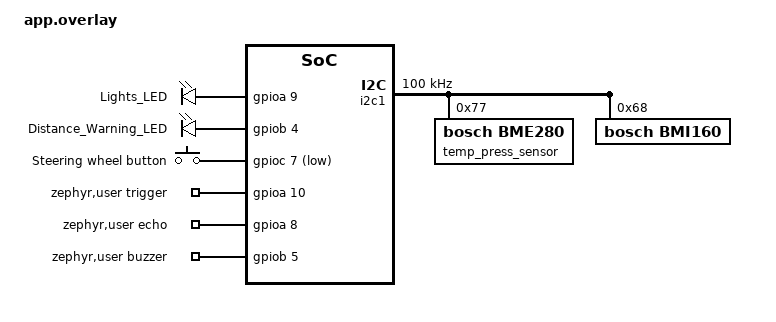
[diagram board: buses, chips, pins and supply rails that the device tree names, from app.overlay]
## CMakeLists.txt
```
cmake_minimum_required(VERSION 3.20.0)
find_package(Zephyr REQUIRED HINTS $ENV{ZEPHYR_BASE})
project(automotive_ecu)

target_sources(app PRIVATE src/main.c src/dashboard.c src/sensors.c src/imu.c)
```

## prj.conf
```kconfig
CONFIG_GPIO=y
CONFIG_LOG=y
CONFIG_I2C=y
CONFIG_SENSOR=y
CONFIG_BMI160=y
CONFIG_BMI160_TRIGGER_NONE=y
```

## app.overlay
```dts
#include <zephyr/dt-bindings/gpio/gpio.h>
#include <zephyr/dt-bindings/i2c/i2c.h>

/ {
    leds {
        compatible = "gpio-leds";
        
        lights_led: led_0 {
            gpios = <&gpioa 9 GPIO_ACTIVE_HIGH>;
            label = "Lights_LED";
        };

        warning_led: led_1 {
            gpios = <&gpiob 4 GPIO_ACTIVE_HIGH>;
            label = "Distance_Warning_LED";
        };
    };

    buttons {
        compatible = "gpio-keys";
        steering_button: button_0 {
            gpios = <&gpioc 7 (GPIO_PULL_UP | GPIO_ACTIVE_LOW)>;
            label = "Steering wheel button";
        };
    }; 

    zephyr,user {

        trigger-gpios = <&gpioa 10 GPIO_ACTIVE_HIGH>;
        echo-gpios = <&gpioa 8 GPIO_ACTIVE_HIGH>;

        buzzer-gpios = <&gpiob 5 GPIO_ACTIVE_HIGH>;
    };
}; 

&i2c1 {
    status = "okay";
    clock-frequency = <I2C_BITRATE_STANDARD>;


    temp_press_sensor: bmp280@77 {
        compatible = "bosch,bme280";
        reg  = <0x77>; 
    };

    bmi160: bmi160@68 {
        compatible = "bosch,bmi160";
        reg = <0x68>;
    };   
 };
```

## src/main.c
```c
#include <zephyr/kernel.h>
#include <zephyr/logging/log.h>
#include "dashboard.h"
#include "sensors.h"

LOG_MODULE_REGISTER(main, LOG_LEVEL_INF);

int main(void)
{
    dashboard_init();
    sensors_init();

    while(1)
    {
        heartbeat_toggle();

        bme280_read();
        hcsr04_read();
        
        int distance = hcsr04_get_distance();
        dashboard_check_alarms(distance);
        
        sensors_log();
        
        k_msleep(1000);
    }
}
   

    
```

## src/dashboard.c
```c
#include <zephyr/drivers/gpio.h>
#include <zephyr/logging/log.h>
#include <zephyr/kernel.h>
#include "dashboard.h"

#define LED0_NODE DT_ALIAS(led0)
#define ZEPHYR_USER_NODE DT_PATH(zephyr_user)

#define MAX_TIME_MS 500
#define MIN_TIME_MS 50
#define MAX_DISTANCE_CM 15
#define MIN_DISTANCE_CM 3

LOG_MODULE_REGISTER(dashboard, LOG_LEVEL_INF);

static const struct gpio_dt_spec led = GPIO_DT_SPEC_GET(DT_NODELABEL(lights_led), gpios);
static const struct gpio_dt_spec parking_led = GPIO_DT_SPEC_GET(DT_NODELABEL(warning_led), gpios);
static const struct gpio_dt_spec parking_buzzer = GPIO_DT_SPEC_GET(DT_PATH(zephyr_user), buzzer_gpios);
static const struct gpio_dt_spec button = GPIO_DT_SPEC_GET(DT_NODELABEL(steering_button), gpios);
static const struct gpio_dt_spec heartbeat_led = GPIO_DT_SPEC_GET(LED0_NODE, gpios);
static struct gpio_callback button_cb_data;


void alarm_timer_handler(struct k_timer *timer_id)
{
    gpio_pin_toggle_dt(&parking_led);
    gpio_pin_toggle_dt(&parking_buzzer);
}
K_TIMER_DEFINE(alarm_timer, alarm_timer_handler, NULL);


void button_pressed_callback(const struct device *dev, struct gpio_callback *cb, uint32_t pins)
{
    dashboard_led_toggle();
}

void dashboard_init(void)
{
    if(!gpio_is_ready_dt(&heartbeat_led))
    {
        LOG_ERR("System LED not ready");
        return;
    }
    gpio_pin_configure_dt(&heartbeat_led, GPIO_OUTPUT_ACTIVE);

    if(!gpio_is_ready_dt(&led))
    {
        LOG_ERR("Blue LED device not ready");
        return;
    }
    gpio_pin_configure_dt(&led, GPIO_OUTPUT_INACTIVE);

    if(!gpio_is_ready_dt(&button))
    {
        LOG_ERR("Button device not ready");
        return;
    }
    gpio_pin_configure_dt(&button, GPIO_INPUT);

    if(!gpio_is_ready_dt(&parking_led))
    {
        LOG_ERR("Parking LED not ready");
        return;
    }
    gpio_pin_configure_dt(&parking_led, GPIO_OUTPUT_INACTIVE);

    if(!gpio_is_ready_dt(&parking_buzzer))
    {
        LOG_ERR("Parking buzzer not ready");
        return;
    }
    gpio_pin_configure_dt(&parking_buzzer, GPIO_OUTPUT_INACTIVE);

    gpio_pin_interrupt_configure_dt(&button, GPIO_INT_EDGE_TO_ACTIVE);
    gpio_init_callback(&button_cb_data, button_pressed_callback, BIT(button.pin));
    gpio_add_callback_dt(&button, &button_cb_data);
}

void heartbeat_toggle(void)
{
    gpio_pin_toggle_dt(&heartbeat_led);
}

void dashboard_led_set(bool led_state)
{
    gpio_pin_set_dt(&led, led_state);
}

void dashboard_led_toggle(void)
{
    gpio_pin_toggle_dt(&led);
}

void dashboard_check_alarms(int current_distance_cm)
{
    int delay_ms = MIN_TIME_MS + ((current_distance_cm - MIN_DISTANCE_CM) * (MAX_TIME_MS - MIN_TIME_MS)) / (MAX_DISTANCE_CM - MIN_DISTANCE_CM);

    if(current_distance_cm >= 0 && current_distance_cm <= MIN_DISTANCE_CM)
    {
        k_timer_stop(&alarm_timer);
        gpio_pin_set_dt(&parking_led, 1);
        gpio_pin_set_dt(&parking_buzzer, 1);

    }
    
    else if(current_distance_cm > MIN_DISTANCE_CM && current_distance_cm <= MAX_DISTANCE_CM)
    {

        k_timer_start(&alarm_timer, K_MSEC(delay_ms), K_MSEC(delay_ms));
    }

    else
    {
        k_timer_stop(&alarm_timer);
        gpio_pin_set_dt(&parking_led, 0);
        gpio_pin_set_dt(&parking_buzzer, 0);
    }

}
```

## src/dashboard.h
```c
#ifndef DASHBOARD_H
#define DASHBOARD_H

#include <stdbool.h>
#include <zephyr/drivers/gpio.h>
#include <zephyr/kernel.h>

void dashboard_init(void);
void dashboard_led_set(bool state);
void dashboard_led_toggle(void);
void heartbeat_toggle(void);
void button_pressed_callback(const struct device *dev, struct gpio_callback *cb, uint32_t pins);
void dashboard_check_alarms(int current_distance_cm);
void alarm_timer_handler(struct k_timer *timer_id);

#endif
```

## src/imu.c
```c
#include <zephyr/kernel.h>
#include <zephyr/logging/log.h>
#include <zephyr/drivers/sensor.h>
#include <zephyr/drivers/gpio.h>

#define IMU_STACK_SIZE 1024
#define IMU_PRIORITY 5

LOG_MODULE_REGISTER(imu, LOG_LEVEL_INF);

const struct device *imu_dev = DEVICE_DT_GET(DT_NODELABEL(bmi160));
struct sensor_value imu_bmi160[3];

void bmi160_init()
{
    if(!device_is_ready(imu_dev))
    {
        LOG_ERR("IMU device not ready");
        return;
    }
}

void bmi160_read()
{
    int imu_data = sensor_sample_fetch(imu_dev);
    if(imu_data < 0)
    {
        LOG_ERR("BMI160 read error");
        return;
    }

    sensor_channel_get(imu_dev, SENSOR_CHAN_ACCEL_XYZ, imu_bmi160);
}

void imu_thread_function(void *arg1, void *arg2, void *arg3)
{
    bmi160_init();

    while(1)
    {
        bmi160_read();
        k_msleep(100);
    }
}
K_THREAD_DEFINE(imu_thread_id, IMU_STACK_SIZE, imu_thread_function, NULL, NULL, NULL, IMU_PRIORITY, 0, 0);
```

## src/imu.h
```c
#ifndef IMU.H
#define IMU.H

#include <stdbool.h>


void bmi160_init(void);
void bmi160_read(void);
void imu_thread_function(void *arg1, void *arg2, void *arg3);












#endif
```

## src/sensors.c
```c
#include <zephyr/kernel.h>
#include <zephyr/logging/log.h>
#include <zephyr/drivers/sensor.h>
#include <zephyr/drivers/gpio.h>
#include "sensors.h"

#define ZEPHYR_USER_NODE DT_PATH(zephyr_user)

LOG_MODULE_REGISTER(sensors, LOG_LEVEL_INF);

const struct device *sens_bme280 = DEVICE_DT_GET(DT_NODELABEL(temp_press_sensor));
static const struct gpio_dt_spec trigger_pin = GPIO_DT_SPEC_GET(ZEPHYR_USER_NODE, trigger_gpios);
static const struct gpio_dt_spec echo_pin = GPIO_DT_SPEC_GET(ZEPHYR_USER_NODE, echo_gpios);


struct sensor_value press_bme280, temp_bme280;
struct sensor_value distance_hcsr04;

void sensors_init(void)
{

    if(!device_is_ready(sens_bme280))
    {
        LOG_ERR("BME280 sensor not ready");
        return;
    }

    if((!gpio_is_ready_dt(&trigger_pin)) || !gpio_is_ready_dt(&echo_pin))
    {
        LOG_ERR("HCSR04 device not ready");
        return;
    }
    gpio_pin_configure_dt(&trigger_pin, GPIO_OUTPUT_INACTIVE);
    gpio_pin_configure_dt(&echo_pin, GPIO_INPUT);
}

void bme280_read(void)
{
    int bme280_data = sensor_sample_fetch(sens_bme280);
    if(bme280_data < 0)
    {
        LOG_ERR("BME280 read error");
        return;
    }
    
    sensor_channel_get(sens_bme280, SENSOR_CHAN_PRESS, &press_bme280);
    sensor_channel_get(sens_bme280, SENSOR_CHAN_AMBIENT_TEMP, &temp_bme280); 
}

void hcsr04_read(void)
{
    gpio_pin_set_dt(&trigger_pin, 1);
    k_busy_wait(10);
    gpio_pin_set_dt(&trigger_pin, 0);    

    uint32_t wait_timeout_start = k_cycle_get_32();
    while(gpio_pin_get_dt(&echo_pin) == 0)
    {

        uint32_t actual_time = k_cycle_get_32();
        uint32_t elapsed_time_us = k_cyc_to_us_floor32(actual_time - wait_timeout_start);
        if(elapsed_time_us > 4000)
        {
            LOG_ERR("ERROR reading from hc-sr04");
            return;
        }
    }

    uint32_t echo_start = k_cycle_get_32();
    while(gpio_pin_get_dt(&echo_pin) == 1)
    {

        uint32_t wave_actual = k_cycle_get_32();
        uint32_t wave_timeout = k_cyc_to_us_floor32(wave_actual - echo_start);
        if(wave_timeout > 50000)
        {
            LOG_ERR("ERROR reading from h-sr04");
            return;
        }
    }
    
    uint32_t echo_end = k_cycle_get_32();
    uint32_t time_us = k_cyc_to_us_floor32(echo_end - echo_start);
    distance_hcsr04.val1 = time_us / 58;
    distance_hcsr04.val2 = ((time_us % 58) * 1000000) / 58;
}

int hcsr04_get_distance(void)
{
    return distance_hcsr04.val1;
}

void sensors_log(void)
{
    printk("\033[H"); 
    printk("=== AUTOMOTIVE ECU DASHBOARD ===\n");
    printk("Temperature: %d.%06d C      \n", temp_bme280.val1, temp_bme280.val2);
    printk("Pressure:   %d.%06d kPa    \n", press_bme280.val1, press_bme280.val2);
    printk("Distance:     %d.%06d cm     \n", distance_hcsr04.val1, distance_hcsr04.val2);
}
```

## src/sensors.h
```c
#ifndef SENSORS_H
#define SENSORS_H

#include <stdbool.h>

void sensors_init(void);
void bme280_read(void);
void hcsr04_read(void);
void sensors_log(void);
int hcsr04_get_distance(void);

#endif
```
